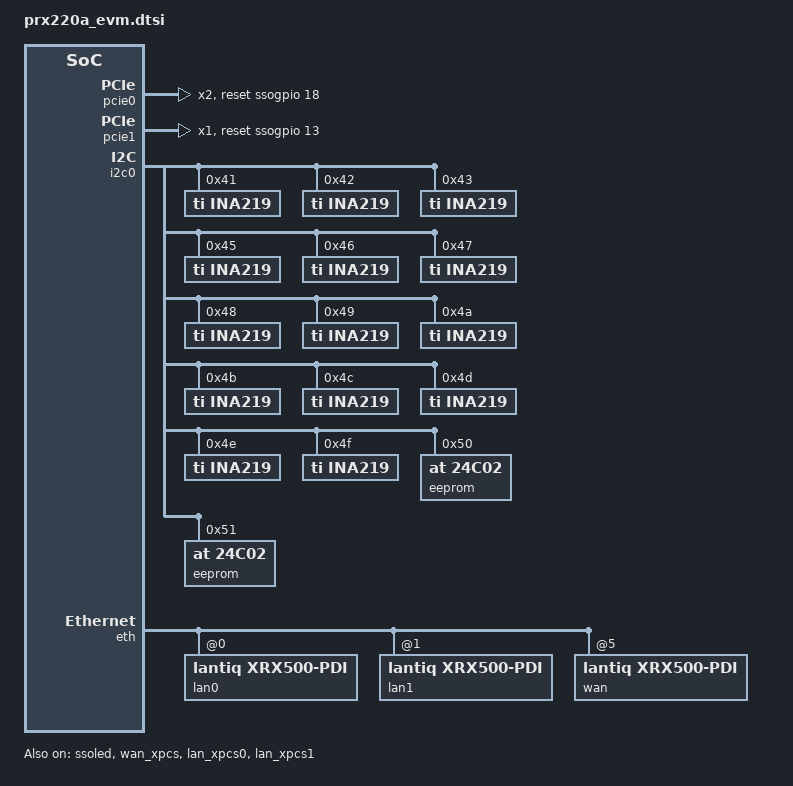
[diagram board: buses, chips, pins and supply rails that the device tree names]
/******************************************************************************
 ** Board configuration: Enable spi0 configuration.
 ******************************************************************************/

/******************************************************************************
 ** Board configuration: Enable PCIe board configuration.
 ** PCIE sub-system feature configuration, the pcie0/1 are defined in Soc level
 ******************************************************************************/
&pcie0 {
	intel,rst-interval = <200>;
	intel,inbound-swap = <1>;
	intel,outbound-swap = <0>;
	reset-gpio = <&ssogpio 18 0>;
	num-lanes = <2>;
};

&pcie1 {
	intel,rst-interval = <200>;
	intel,inbound-swap = <1>;
	intel,outbound-swap = <0>;
	reset-gpio = <&ssogpio 13 0>;
	num-lanes = <1>;
};

/******************************************************************************
 ** Board configuration: Enable Shift register LED board configuration.
 ******************************************************************************/
&ssogpio {
	status = "ok";
};

&ssoled {
	status = "ok";

	/* led definition */
	intel,sso-def-brightness = <0x80>;
	intel,sso-def-blinkrate = <4>; /* HZ*/
	 /* blink rate list: 2, 4, 8, 10, 50K, 100K, 200K, 250K, 1000K */
	led4: led4 {
		label = "led4:green:sw";
		led-gpio = <&ssogpio 4 0>;
		intel,led-pin = <4>;
		intel,sso-hw-blink;
	};

	led5: led5 {
		label = "led5:green:sw";
		led-gpio = <&ssogpio 5 0>;
		intel,led-pin = <5>;
		intel,sso-hw-blink;
	};

	led6: led6 {
		label = "led6:green:sw";
		led-gpio = <&ssogpio 6 0>;
		intel,led-pin = <6>;
		intel,sso-hw-blink;
	};

	led7: led7 {
		label = "led7:green:sw";
		led-gpio = <&ssogpio 7 0>;
		intel,led-pin = <7>;
		intel,sso-hw-blink;
	};
};

/******************************************************************************
 ** Board configuration: Enable CoC power management board feature
 ******************************************************************************/
&i2c0 {
	status = "ok";

	/* power monitor */
	ina219@41 {
		compatible = "ti,ina219";
		reg = <0x41>;
		shunt-resistor = <10000>;
		rail-name = "PWR_12V";
	};

	ina219@42 {
		compatible = "ti,ina219";
		reg = <0x42>;
		shunt-resistor = <10000>;
		rail-name = "PWR_3V3";
	};

	ina219@43 {
		compatible = "ti,ina219";
		reg = <0x43>;
		shunt-resistor = <10000>;
		rail-name = "PWR_1V2_1V35";
	};

	ina219@45 {
		compatible = "ti,ina219";
		reg = <0x45>;
		shunt-resistor = <10000>;
		rail-name = "PWR_0V9";
	};

	ina219@46 {
		compatible = "ti,ina219";
		reg = <0x46>;
		shunt-resistor = <10000>;
		rail-name = "PWR_1V8";
	};

	ina219@47 {
		compatible = "ti,ina219";
		reg = <0x47>;
		shunt-resistor = <10000>;
		rail-name = "PWR_1V5";
	};

	ina219@48 {
		compatible = "ti,ina219";
		reg = <0x48>;
		shunt-resistor = <10000>;
		rail-name = "PWR_1V1";
	};

	ina219@49 {
		compatible = "ti,ina219";
		reg = <0x49>;
		shunt-resistor = <10000>;
		rail-name = "PWR_1V8_3V3";
	};

	ina219@4a {
		compatible = "ti,ina219";
		reg = <0x4a>;
		shunt-resistor = <10000>;
		rail-name = "PWR_3V3_TID0";
	};

	ina219@4b {
		compatible = "ti,ina219";
		reg = <0x4b>;
		shunt-resistor = <10000>;
		rail-name = "PWR_3V3_SFP";
	};

	ina219@4c {
		compatible = "ti,ina219";
		reg = <0x4c>;
		shunt-resistor = <10000>;
		rail-name = "PWR_3V3_TID1";
	};

	ina219@4d {
		compatible = "ti,ina219";
		reg = <0x4d>;
		shunt-resistor = <10000>;
		rail-name = "PWR_3V3_SHR";
	};

	ina219@4e {
		compatible = "ti,ina219";
		reg = <0x4e>;
		shunt-resistor = <10000>;
		rail-name = "PWR_3V3_WAN";
	};

	ina219@4f {
		compatible = "ti,ina219";
		reg = <0x4f>;
		shunt-resistor = <10000>;
		rail-name = "PWR_2V5";
	};

	/* EEPROM of the optical WAN transceiver */
	eeprom@50 {
		compatible = "at,24c02";
		reg = <0x50>;
	};
	eeprom@51 {
		compatible = "at,24c02";
		reg = <0x51>;
	};
};

/******************************************************************************
 ** Board configuration: Enable SSC1 to support standard SPI devices (SPI Flash)
 ******************************************************************************/
/*
&ssc1 {
		status="ok";
		mt29f@0 {
				#address-cells = <1>;
				#size-cells = <1>;
				reg = <0 1>;
				compatible = "spinand,mt29f";
				linux,modalias = "mt29f";
				spi-max-frequency = <1000000>;

				partition@0 {
					label = "uboot";
					reg = <0x000000 0x100000>;
				};

				partition@100000 {
					label = "data";
					reg = <0x100000 0x1000000>;
				};

				partition@1100000 {
					label = "res";
					reg = <0x1100000 0x6E00000>;
				};
			};
};
*/
/******************************************************************************
 ** Board configuration: Configure LAN/WAN interfaces
 ******************************************************************************/
&eth {
	status = "ok";

	lan0: interface@0 {
		compatible = "lantiq,xrx500-pdi";
		#address-cells = <1>;
		#size-cells = <0>;
		reg = <0>;
		intel,dp-dev-port = <3>;
		intel,dp-port-id = <3>;
		intel,xgmac-id = <1>;

		ethernet@1 {
			compatible = "lantiq,xrx500-pdi-port";
			reg = <1>;
			phy-mode = "rgmii";
		};
	};

	lan1: interface@1 {
		compatible = "lantiq,xrx500-pdi";
		#address-cells = <1>;
		#size-cells = <0>;
		reg = <1>;
		intel,dp-dev-port = <4>;
		intel,dp-port-id = <4>;
		intel,xgmac-id = <2>;

		ethernet@1 {
			compatible = "lantiq,xrx500-pdi-port";
			reg = <2>;
			phy-mode = "rgmii";
		};
	};

	wan: interface@5 {
		compatible = "lantiq,xrx500-pdi";
		#address-cells = <1>;
		#size-cells = <0>;
		reg = <5>;
		lantiq,wan = <1>;
		intel,dp-dev-port = <2>;
		intel,dp-port-id = <2>;
		intel,xgmac-id = <0>;

		ethernet@5 {
			compatible = "lantiq,xrx500-pdi-port";
			reg = <1>;
			phy-mode = "rgmii";
		};
	};
};

/* This is needed to improve qspi stability on the board */
&pinctrl_qspi {
	intel,slew-rate = <1>;
	intel,drive-current = <3>;
};

/* SPI pins changed in PRX EVA board (shared with qspi) */
&pinctrl_spi0 {
	intel,pins =	<4>, /* SPI0_CLK */
			<3>, /* SPI0_TX */
			<2>; /* SPI0_RX */
};

&pinctrl_spi0_cs {
	intel,pins =  <5>; /* SPI0_CS */
};

&ssc0 {
	ltq-spinand@1 {
		status = "disabled";
		#address-cells = <1>;
		#size-cells = <1>;
		reg = <1>;
		compatible = "lantiq,spinand";
		linux,mtd-name = "nand.0";
		spi-max-frequency = <15384615>;

		/* Basic fallback partition layout. Real partition should be
		 * defined in kernel boot parameters by uboot.
		 */
		partition@0 {
			reg = <0x0 0x40000>;
			label = "uboot";
			read-only;
		};

		partition@40000 {
			reg = <0x40000 0x80000>;
			label = "uboot_env";
		};

		partition@C0000 {
			reg = <0xC0000 0x740000>;
			label = "image0";
		};

		partition@800000 {
			reg = <0x800000 0x800000>;
			label = "image1";
		};
	};

	mx25l12835f@1 {
		status = "disabled";
		#address-cells = <1>;
		#size-cells = <1>;
		compatible = "jedec,spi-nor";
		reg = <1>;
		spi-max-frequency = <15384615>;

		/* Basic fallback partition layout. Real partition should be
		 * defined in kernel boot parameters by uboot.
		 */
		partition@0 {
			reg = <0x0 0x40000>;
			label = "uboot";
			read-only;
		};

		partition@40000 {
			reg = <0x40000 0x80000>;
			label = "uboot_env";
		};

		partition@C0000 {
			reg = <0xC0000 0x740000>;
			label = "image0";
		};

		partition@800000 {
			reg = <0x800000 0x800000>;
			label = "image1";
		};
	};
};

&qspi0 {
	ltq-spinand@0 {
		status = "disabled";
		#address-cells = <1>;
		#size-cells = <1>;
		compatible = "lantiq,spinand";
		reg = <0 1>;
		linux,mtd-name = "nand.0";
		spi-max-frequency = <50000000>;
		page-size = <2048>;
		block-size = <17>; // 2^17, 128KB
		spi-tx-bus-width = <4>;
		spi-rx-bus-width = <4>;

		/* Read-delay is needed for higher freq.
		 * 4 ref_clk is chosen as value that works well upto 50MHz.
		 */
		read-delay = <4>;
		tshsl-ns = <200>;
		tsd2d-ns = <255>;
		tchsh-ns = <20>;
		tslch-ns = <20>;

		/* Basic fallback partition layout. Real partition should be
		 * defined in kernel boot parameters by uboot.
		 */
		partition@0 {
			reg = <0x0 0x40000>;
			label = "uboot";
			read-only;
		};

		partition@40000 {
			reg = <0x40000 0x80000>;
			label = "uboot_env";
		};

		partition@C0000 {
			reg = <0xC0000 0x740000>;
			label = "image0";
		};

		partition@800000 {
			reg = <0x800000 0x800000>;
			label = "image1";
		};
	};

	mx25l12835f@0 {
		status = "disabled";
		#address-cells = <1>;
		#size-cells = <1>;
		compatible = "jedec,spi-nor";
		reg = <0 1>;
		page-size = <256>;
		block-size = <16>; // 2^16, 64KB
		spi-max-frequency = <50000000>;
		spi-tx-bus-width = <4>;
		spi-rx-bus-width = <4>;

		/* Read-delay is needed for higher freq.
		 * 4 ref_clk is chosen as value that works well upto 50MHz.
		 */
		read-delay = <4>;
		tshsl-ns = <200>;
		tsd2d-ns = <255>;
		tchsh-ns = <20>;
		tslch-ns = <20>;

		/* Basic fallback partition layout. Real partition should be
		 * defined in kernel boot parameters by uboot.
		 */
		partition@0 {
			reg = <0x0 0x40000>;
			label = "uboot";
			read-only;
		};

		partition@40000 {
			reg = <0x40000 0x80000>;
			label = "uboot_env";
		};

		partition@C0000 {
			reg = <0xC0000 0x740000>;
			label = "image0";
		};

		partition@800000 {
			reg = <0x800000 0x800000>;
			label = "image1";
		};
	};
};

&wan_xpcs {
    status = "ok";
    xpcs-conntype = "SFP"; /* SFP or PHY */
};

&lan_xpcs0 {
    status = "ok";
    xpcs-conntype = "SFP"; /* SFP or PHY */
};

&lan_xpcs1 {
    status = "ok";
    xpcs-conntype = "SFP"; /* SFP or PHY */
};

